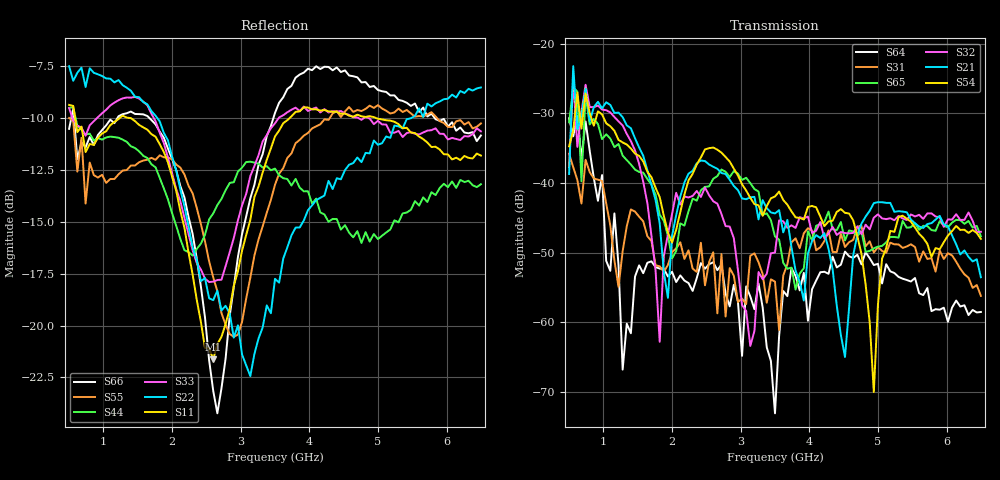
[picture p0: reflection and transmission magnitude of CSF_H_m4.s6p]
!Keysight Technologies,M9804A,MY58100912,A.14.10.03
!Date: Thursday, April 27, 2023 10:28:33
!Correction: S11(C  6-Port  )
!S12(C  6-Port  )
!S13(C  6-Port  )
!S14(C  6-Port  )
!S15(C  6-Port  )
!S16(C  6-Port  )
!S21(C  6-Port  )
!S22(C  6-Port  )
!S23(C  6-Port  )
!S24(C  6-Port  )
!S25(C  6-Port  )
!S26(C  6-Port  )
!S31(C  6-Port  )
!S32(C  6-Port  )
!S33(C  6-Port  )
!S34(C  6-Port  )
!S35(C  6-Port  )
!S36(C  6-Port  )
!S41(C  6-Port  )
!S42(C  6-Port  )
!S43(C  6-Port  )
!S44(C  6-Port  )
!S45(C  6-Port  )
!S46(C  6-Port  )
!S51(C  6-Port  )
!S52(C  6-Port  )
!S53(C  6-Port  )
!S54(C  6-Port  )
!S55(C  6-Port  )
!S56(C  6-Port  )
!S61(C  6-Port  )
!S62(C  6-Port  )
!S63(C  6-Port  )
!S64(C  6-Port  )
!S65(C  6-Port  )
!S66(C  6-Port  )
!S6P File: Measurement: :
# Hz S  RI  R 50
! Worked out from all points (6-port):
!   101 points, 500 MHz to 6.5 GHz, reference 50 ohm
!   strongest paths, dB at 500 MHz, 2 GHz, 3.5 GHz, 5 GHz, 6.5 GHz:
!     S54: -34.7, -48.6, -41.9, -57.5, -48.0
!     S21: -38.7, -47.6, -44.4, -42.8, -53.6
!     S32: -37.7, -44.5, -50.0, -44.5, -47.0
!     S65: -31.3, -50.9, -47.7, -49.2, -47.7
!     S31: -35.8, -50.0, -54.2, -49.2, -56.2
!     S64: -30.7, -52.8, -73.1, -51.6, -58.6
!   lowest |S11| = -21.6 dB at 2.6 GHz (marker M1), VSWR 1.18, Z = 42.6 + j2.02 ohm
!   |S11| at or under -10 dB: 587.6 MHz to 1.238 GHz (650.6 MHz wide, 71.3 % of centre); 1.385 GHz to 3.714 GHz (2.329 GHz wide, 91.4 % of centre); 4.971 GHz to end of sweep
